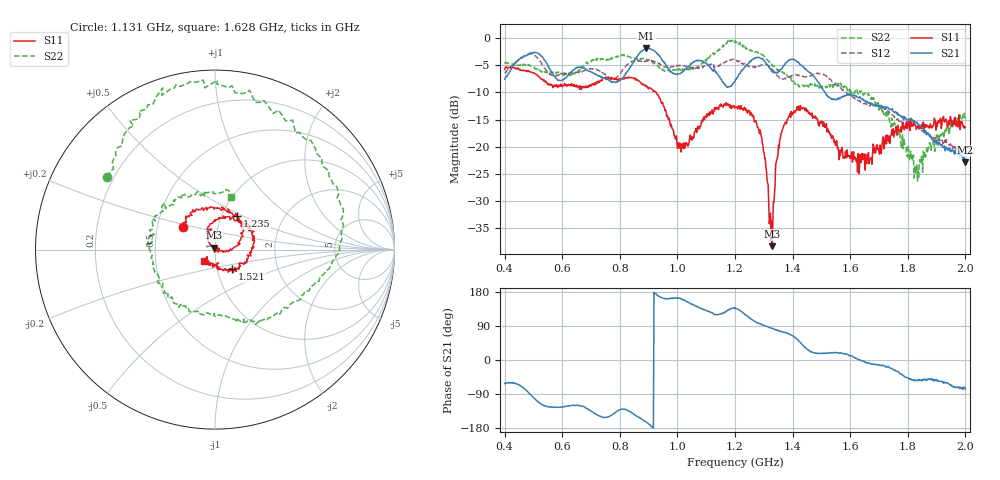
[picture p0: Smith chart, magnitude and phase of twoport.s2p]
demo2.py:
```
#!/usr/bin/env python3
# -*- coding: utf-8 -*-
"""

Demo2.py  

demonstrate scikit-rf SOLT TwelveTerm two-port cal (with 10 terms)

@author timothy.d.drysdale@gmail.com

Modified 2022-11-10 from demo.py

"""

import json
import skrf as rf
from skrf.calibration import OnePort, TwelveTerm
from skrf.media import DefinedGammaZ0
import matplotlib.pyplot as plt

# measured files supplied from pocket-VNA measurement
twoport_short = rf.Network('test/measured/twoport-short-p1.s2p', name="short")
twoport_open = rf.Network('test/measured/twoport-open-p1.s2p', name="open")
twoport_load = rf.Network('test/measured/twoport-load-p1.s2p', name="load")
twoport_thru = rf.Network('test/measured/twoport-thru.s2p', name="thru")
twoport_dut  = rf.Network('test/measured/twoport-dut.s2p', name="scikit-rf TwelveTerm") #Name for legend later, not what it is now

measured = [\
            twoport_short,
            twoport_open,
            twoport_load,
            twoport_thru
           ]

f = twoport_short.frequency
standard = DefinedGammaZ0(f)

ideals = [\
        standard.short(nports=2),
        standard.open(nports=2),
        standard.load(1e-99, nports=2), #noreflection Gamma -> 0 (can't be zero, div by zero error)
        standard.thru()
        ]


## create a Calibration instance
cal = TwelveTerm(\
        ideals = ideals,
        measured = measured,
        n_thrus=1,
        )

## run, and apply calibration to a DUT

# run calibration algorithm
cal.run()

# # apply it to a dut
dut_cal = cal.apply_cal(twoport_dut)

# # check results against supplied data

dut_exp = rf.Network('test/supplied/twoport-dut-cal.s2p', name='supplied by course team')

## Try the 3-term calibration on the same data, for S11

# measured files supplied from pocket-VNA measurement
meas2port = [\
        rf.Network('test/measured/short.s2p'),
        rf.Network('test/measured/open.s2p'),
        rf.Network('test/measured/load.s2p'),
        ]
# the data we want is S11

oneport_short_s11 = rf.Network(frequency=f, s=twoport_short.s[:,0,0], name="short")
oneport_open_s11 = rf.Network(frequency=f, s=twoport_open.s[:,0,0], name="open")
oneport_load_s11 = rf.Network(frequency=f, s=twoport_load.s[:,0,0], name="load")

meas_s11 = [\
         oneport_short_s11,
         oneport_open_s11,
         oneport_load_s11,
         ]

ideals1 = [\
        standard.short(),
        standard.open(),
        standard.load(1e-99), #noreflection Gamma -> 0 (can't be zero, div by zero error)
        ]


## create a Calibration instance
cal_s11 = OnePort(\
        ideals = ideals1,
        measured = meas_s11,
        )
# run calibration algorithm
cal_s11.run()

dut_s11 = rf.Network(frequency=f, s=twoport_dut.s[:,0,0], name="scikit-rf OnePort") #name for legend later, not what it is now
# apply it to a dut
dut_s11_cal = cal_s11.apply_cal(dut_s11)

# save results for comparison against automated implementation of this approach
dut_s11_cal.write_touchstone('test/expected/twoport_s11_OnePort.s1p')

# now check S22
oneport_short_s22 = rf.Network(frequency=f, s=twoport_short.s[:,1,1], name="short")
oneport_open_s22 = rf.Network(frequency=f, s=twoport_open.s[:,1,1], name="open")
oneport_load_s22 = rf.Network(frequency=f, s=twoport_load.s[:,1,1], name="load")

meas_s22 = [\
         oneport_short_s22,
         oneport_open_s22,
         oneport_load_s22,
         ]
## create a Calibration instance
cal_s22 = OnePort(\
        ideals = ideals1,
        measured = meas_s22,
        )
# run calibration algorithm
cal_s22.run()

dut_s22 = rf.Network(frequency=f, s=twoport_dut.s[:,1,1], name="scikit-rf OnePort") #name for legend later, not what it is now
# apply it to a dut
dut_s22_cal = cal_s22.apply_cal(dut_s22)


dut_cal.s[:,0,0] = dut_s11_cal.s[:,0,0]
dut_cal.s[:,1,1] = dut_s22_cal.s[:,0,0]

# # save results for comparison against automated implementation of this approach
dut_cal.write_touchstone('test/expected/twoport.s2p')


# check results against supplied data

plt.figure()
plt.title("S21")
dut_cal.plot_s_db(1,0)
dut_exp.plot_s_db(1,0)
plt.savefig("img/twoport-demo-s21-db.png",dpi=300)
plt.show()
plt.close()

plt.figure()
plt.title("S12")
dut_cal.plot_s_db(0,1)
dut_exp.plot_s_db(0,1)
plt.savefig("img/twoport-demo-s12-db.png",dpi=300)
plt.show()
plt.close()

plt.figure()
plt.title("S11")
dut_cal.plot_s_db(0,0)
dut_exp.plot_s_db(0,0)
dut_s11_cal.plot_s_db(0,0)
plt.savefig("img/twoport-demo-s11-db.png",dpi=300)
plt.show()
plt.close()

plt.figure()
plt.title("S22")
dut_cal.plot_s_db(1,1)
dut_exp.plot_s_db(1,1)
dut_s22_cal.plot_s_db(0,0)
plt.savefig("img/twoport-demo-s22-db.png",dpi=300)
plt.show()
plt.close()

plt.figure()
plt.title("S12, S21")
dut_cal.plot_s_db(0,1)
dut_cal.plot_s_db(1,0)
plt.savefig("img/twoport-demo-s12s21-db-twelveterm.png",dpi=300)
plt.show()
plt.close()

plt.figure()
plt.title("S12, S21")
dut_exp.plot_s_db(1,0)
dut_exp.plot_s_db(0,1)
plt.savefig("img/twoport-demo-s12s21-db-supplied.png",dpi=300)
plt.show()
plt.close()


## prep for the JSON DEMO ... do it all again, but with JSON.

def s11re(n):
    return n.s_re[:,0,0].tolist()
def s11im(n):
    return n.s_im[:,0,0].tolist()
def s12re(n):
    return n.s_re[:,0,1].tolist()
def s12im(n):
    return n.s_im[:,0,1].tolist()
def s21re(n):
    return n.s_re[:,1,0].tolist()
def s21im(n):
    return n.s_im[:,1,0].tolist()
def s22re(n):
    return n.s_re[:,1,1].tolist()
def s22im(n):
    return n.s_im[:,1,1].tolist()

request = {
        "cmd":"twoport",
        "freq":f.f.tolist(),
        "short":{
            "s11": {
            "real": s11re(twoport_short),
            "imag": s11im(twoport_short)
            },
            "s12": {
            "real": s12re(twoport_short),
            "imag": s12im(twoport_short)
            },            
            "s21": {
            "real": s21re(twoport_short),
            "imag": s21im(twoport_short)
            },           
            "s22": {
            "real": s22re(twoport_short),
            "imag": s22im(twoport_short)
            }   
        },
          "open": {
                "s11": {
                    "real": s11re(twoport_open),
                    "imag": s11im(twoport_open)
                },
                "s12": {
                    "real": s12re(twoport_open),
                    "imag": s12im(twoport_open)
                },            
                "s21": {
                    "real": s21re(twoport_open),
                    "imag": s21im(twoport_open)
                },           
                "s22": {
                    "real": s22re(twoport_open),
                    "imag": s22im(twoport_open)
                }
          },    
              
          "load": {
               "s11": {
                    "real": s11re(twoport_load),
                    "imag": s11im(twoport_load)
                },
                "s12": {
                    "real": s12re(twoport_load),
                    "imag": s12im(twoport_load)
                },            
                "s21": {
                    "real": s21re(twoport_load),
                    "imag": s21im(twoport_load)
                },           
                "s22": {
                    "real": s22re(twoport_load),
                    "imag": s22im(twoport_load)
                } 
             }, 
            "thru":{
                "s11": {
                    "real": s11re(twoport_thru),
                    "imag": s11im(twoport_thru)
                },
                "s12": {
                    "real": s12re(twoport_thru),
                    "imag": s12im(twoport_thru)
                },            
                "s21": {
                    "real": s21re(twoport_thru),
                    "imag": s21im(twoport_thru)
                },           
                "s22": {
                    "real": s22re(twoport_thru),
                    "imag": s22im(twoport_thru)
                }    
            },
            "dut":{
                "s11": {
                    "real": s11re(twoport_dut),
                    "imag": s11im(twoport_dut)
                },
                "s12": {
                    "real": s12re(twoport_dut),
                    "imag": s12im(twoport_dut)
                },            
                "s21": {
                    "real": s21re(twoport_dut),
                    "imag": s21im(twoport_dut)
                },           
                "s22": {
                    "real": s22re(twoport_dut),
                    "imag": s22im(twoport_dut)
                }    
            }  
        }


with open('test/json/twoport.json', 'w') as f:
     json.dump(request, f)
```
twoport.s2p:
!Created with skrf (http://scikit-rf.org).
# Hz S RI R 50.0
!freq ReS11 ImS11 ReS21 ImS21 ReS12 ImS12 ReS22 ImS22
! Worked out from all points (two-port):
!   800 points, 400 MHz to 2 GHz, reference 50 ohm
!   highest |S21| = -1.91 dB at 892.6 MHz (marker M1); lowest = -22.8 dB at 2 GHz (marker M2)
!   |S21| within 3 dB of the highest: 433.1 MHz to 548.1 MHz (114.9 MHz wide, 23.4 % of centre); 842.3 MHz to 959.4 MHz (117.2 MHz wide, 13 % of centre)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
!   lowest |S11| = -38.3 dB at 1.329 GHz (marker M3), VSWR 1.02, Z = 49.4 + j1.06 ohm
!   |S11| at or under -10 dB: 925.9 MHz to end of sweep
!   |S22| runs from -26.3 to -0.5 dB; largest |S21 - S12| = 0.29
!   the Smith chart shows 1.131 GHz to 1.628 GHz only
!   S11 on the Smith chart (normalised r, x): 1.131 GHz: 0.68, +0.18; 1.235 GHz: 1.18, +0.47; 1.521 GHz: 1.18, -0.26; 1.628 GHz: 0.88, -0.11
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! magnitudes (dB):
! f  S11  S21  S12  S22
! 400 MHz  -5.8  -7.6  -6.4  -4.7
! 892.6 MHz  -8.9  -1.9  -4.3  -4.1
! 1.131 GHz  -13.2  -6.0  -5.4  -2.8
! 1.201 GHz  -12.7  -7.7  -4.2  -0.5
! 1.235 GHz  -13.0  -5.3  -4.8  -1.5
! 1.329 GHz  -38.3  -6.2  -5.8  -5.1
! 1.387 GHz  -14.3  -4.1  -7.2  -7.1
! 1.521 GHz  -16.7  -10.8  -7.2  -8.8
! 1.628 GHz  -21.2  -11.0  -11.6  -10.3
! 1.83 GHz  -16.8  -15.6  -16.2  -23.4
! 2 GHz  -16.4  -22.8  -22.5  -14.9
